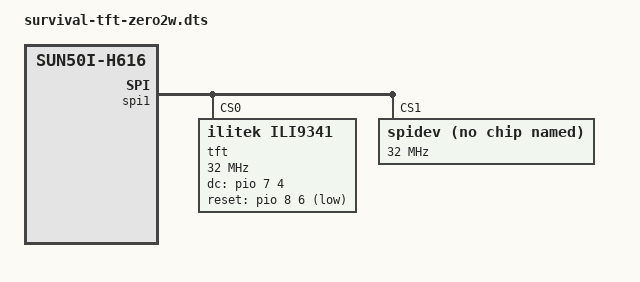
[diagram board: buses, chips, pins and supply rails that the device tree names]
// SPDX-License-Identifier: MIT
//
// Example device-tree overlay for the Survival AI Device on an Orange Pi Zero 2W (H618).
//
//   SPI1 CS0 -> 2.8" red-PCB TFT, ILI9341 (fbtft "fb_ili9341" -> /dev/fbN)
//   SPI1 CS1 -> /dev/spidev1.1 for the round GC9A01 status display (userspace,
//               scripts/status_display.py)
//
// Pins follow docs/wiring.md. GPIO specifiers are <&pio BANK PIN FLAGS> with
// BANK: C=2, H=7, I=8 (Allwinner sunxi binding); FLAGS 0 = active high, 1 = active low.
//
// Do NOT also enable the stock "spi1-cs0-cs1-spidev" overlay: it claims the same
// chip selects.
//
// TODO(verify on hardware):
//  - that your kernel has fbtft's fb_ili9341 (`modinfo fb_ili9341`). fbtft lives in
//    drivers/staging and may not be built on every image; alternatives are the DRM
//    "ili9341" tiny driver or "panel-mipi-dbi" (both still give a /dev/fbN console).
//  - that the panel really is an ILI9341 (same red PCB is sometimes sold with ST7789).
//  - rotate/bgr: adjust if the image is mirrored, rotated or red/blue swapped.
//  - spi-max-frequency: lower to 16000000 if you see corruption on long jumper wires.
//
// Build + install (see README "Hardware bring-up", step 5):
//   dtc -@ -I dts -O dtb -o survival-tft-zero2w.dtbo overlays/survival-tft-zero2w.dts
//   Armbian:        sudo armbian-add-overlay overlays/survival-tft-zero2w.dts
//   Orange Pi OS:   copy the .dtbo to /boot/overlay-user/ and add
//                   "user_overlays=survival-tft-zero2w" to /boot/orangepiEnv.txt

/dts-v1/;
/plugin/;

/ {
	compatible = "allwinner,sun50i-h616";

	fragment@0 {
		target-path = "/aliases";
		__overlay__ {
			spi1 = "/soc/spi@5011000";   // so the bus shows up as spidev1.x
		};
	};

	fragment@1 {
		target = <&spi1>;
		__overlay__ {
			status = "okay";
			#address-cells = <1>;
			#size-cells = <0>;
			pinctrl-names = "default";
			// PH6 SCLK (pin 23), PH7 MOSI (pin 19), PH8 MISO (pin 21),
			// PH5 CS0 (pin 24), PH9 CS1 (pin 26)
			pinctrl-0 = <&spi1_pins>, <&spi1_cs0_pin>, <&spi1_cs1_pin>;

			tft@0 {
				compatible = "ilitek,ili9341";
				reg = <0>;
				spi-max-frequency = <32000000>;
				rotate = <90>;                  // landscape 320x240
				bgr;
				fps = <20>;
				buswidth = <8>;
				dc-gpios = <&pio 7 4 0>;        // PH4  = header pin 18 (DC)
				reset-gpios = <&pio 8 6 1>;     // PI6  = header pin 22 (RESET, active low)
				debug = <0>;
			};

			spidev@1 {
				compatible = "rohm,dh2228fv";   // spidev, same as Orange Pi's own overlay
				reg = <1>;
				spi-max-frequency = <32000000>;
			};

			// Resistive touch (XPT2046, ADS7846-compatible) is wired but NOT enabled:
			// both hardware chip selects are taken, so it would need a GPIO chip select
			// (cs-gpios on spi1, e.g. PI4 = pin 38) and an IRQ (PI3 = pin 40).
			// TODO: unverified whether the sun6i SPI driver honours cs-gpios on this
			// kernel. Sketch, if you want to try:
			//   cs-gpios = <0>, <0>, <&pio 8 4 1>;
			//   touch@2 {
			//       compatible = "ti,ads7846";
			//       reg = <2>;
			//       spi-max-frequency = <2000000>;
			//       interrupt-parent = <&pio>;
			//       interrupts = <8 3 2>;        // PI3, falling edge
			//       pendown-gpio = <&pio 8 3 1>;
			//       ti,x-plate-ohms = /bits/ 16 <60>;
			//       ti,pressure-max = /bits/ 16 <255>;
			//   };
		};
	};
};
